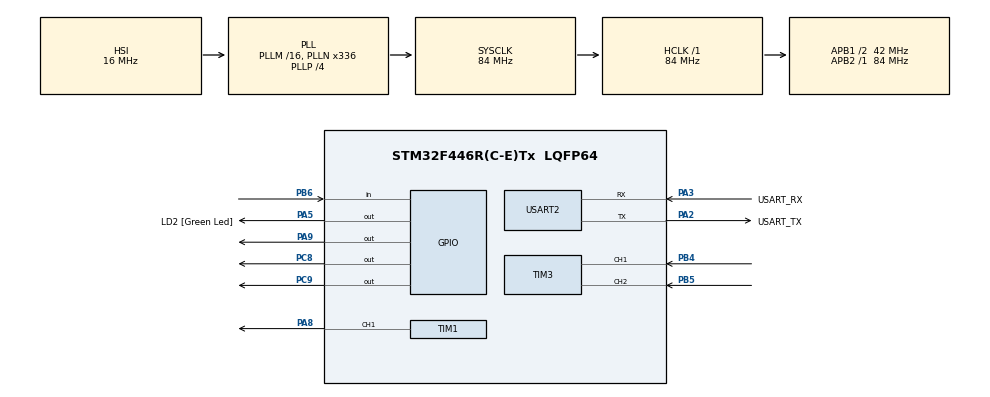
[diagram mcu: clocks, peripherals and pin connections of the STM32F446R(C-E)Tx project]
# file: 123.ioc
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Mcu.Family=STM32F4
Mcu.Name=STM32F446R(C-E)Tx
Mcu.Package=LQFP64
NVIC.PriorityGroup=NVIC_PRIORITYGROUP_0
NVIC.TIM2_IRQn=true\:0\:0\:false\:false\:true\:true\:true\:true
PA14.GPIO_Label=TCK
PA14.Signal=SYS_JTCK-SWCLK
PA2.GPIO_Label=USART_TX
PA2.Mode=Asynchronous
PA2.Signal=USART2_TX
PA3.GPIO_Label=USART_RX
PA3.Mode=Asynchronous
PA3.Signal=USART2_RX
PA5.GPIO_Label=LD2 [Green Led]
PA5.GPIO_PuPd=GPIO_NOPULL
PA5.Signal=GPIO_Output
PA8.Signal=S_TIM1_CH1
PA9.Signal=GPIO_Output
PB4.Signal=S_TIM3_CH1
PB5.Signal=S_TIM3_CH2
PB6.Signal=GPIO_Input
PC14-OSC32_IN.Mode=LSE-External-Oscillator
PC14-OSC32_IN.Signal=RCC_OSC32_IN
PC15-OSC32_OUT.Mode=LSE-External-Oscillator
PC15-OSC32_OUT.Signal=RCC_OSC32_OUT
PC8.Signal=GPIO_Output
PC9.Signal=GPIO_Output
PH0-OSC_IN.Mode=HSE-External-Oscillator
PH0-OSC_IN.Signal=RCC_OSC_IN
PH1-OSC_OUT.Mode=HSE-External-Oscillator
PH1-OSC_OUT.Signal=RCC_OSC_OUT
ProjectManager.HeapSize=0x200
ProjectManager.StackSize=0x400
ProjectManager.TargetToolchain=STM32CubeIDE
RCC.48MHZClocksFreq_Value=84000000
RCC.AHBFreq_Value=84000000
RCC.APB1CLKDivider=RCC_HCLK_DIV2
RCC.APB1Freq_Value=42000000
RCC.APB1TimFreq_Value=84000000
RCC.APB2Freq_Value=84000000
RCC.APB2TimFreq_Value=84000000
RCC.CortexFreq_Value=84000000
RCC.FLatency-AdvancedSettings=FLASH_LATENCY_2
RCC.HCLKFreq_Value=84000000
RCC.HSE_VALUE=8000000
RCC.HSI_VALUE=16000000
RCC.PLLN=336
RCC.PLLP=RCC_PLLP_DIV4
RCC.SYSCLKFreq_VALUE=84000000
RCC.SYSCLKSource=RCC_SYSCLKSOURCE_PLLCLK
RCC.USBFreq_Value=168000000
RCC.VCOOutputFreq_Value=336000000
SH.S_TIM1_CH1.0=TIM1_CH1,PWM Generation1 CH1
SH.S_TIM3_CH1.0=TIM3_CH1,Encoder_Interface
SH.S_TIM3_CH2.0=TIM3_CH2,Encoder_Interface
TIM1.AutomaticOutput=TIM_AUTOMATICOUTPUT_ENABLE
TIM1.Channel-PWM\ Generation1\ CH1=TIM_CHANNEL_1
TIM1.Period=4199
TIM2.Period=999
TIM2.Prescaler=8399
USART2.VirtualMode=VM_ASYNC
VP_TIM2_VS_ClockSourceINT.Mode=Internal
board=NUCLEO-F446RE

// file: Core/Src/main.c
/* USER CODE BEGIN Header */
/**
  ******************************************************************************
  * @file           : main.c
  * @brief          : Main program body
  ******************************************************************************
  * @attention
  *
  * Copyright (c) 2025 STMicroelectronics.
  * All rights reserved.
  *
  * This software is licensed under terms that can be found in the LICENSE file
  * in the root directory of this software component.
  * If no LICENSE file comes with this software, it is provided AS-IS.
  *
  ******************************************************************************
  */
/* USER CODE END Header */
#include "main.h"

/* USER CODE BEGIN Includes */
#include <stdio.h>
#include <string.h>
/* USER CODE END Includes */

TIM_HandleTypeDef htim1;
TIM_HandleTypeDef htim2;
TIM_HandleTypeDef htim3;

UART_HandleTypeDef huart2;

/* USER CODE BEGIN PV */

int i = 0;
/* USER CODE END PV */

void SystemClock_Config(void);
static void MX_GPIO_Init(void);
static void MX_USART2_UART_Init(void);
static void MX_TIM1_Init(void);
static void MX_TIM2_Init(void);
static void MX_TIM3_Init(void);

/* USER CODE BEGIN 0 */
#define PWM_ARR (4199.0f)              // �?????? MX_TIM1_Init �??????�??????
#define TS_SEC  (0.1f)              // ??�樣??��?? 10 ms

// ??�百??��?��?��?�實??? PWM
float pct;
#define DUTY_FROM_PCT(pct)  (((PWM_ARR+1U) * (pct)) / 100U)//

// L298N ?��??�腳：IN3=PC7, IN4=PA9
static inline void Len_high(void){ HAL_GPIO_WritePin(GPIOC, GPIO_PIN_8, GPIO_PIN_SET); }
static inline void Len_low (void){ HAL_GPIO_WritePin(GPIOC, GPIO_PIN_8, GPIO_PIN_RESET); }
static inline void Ren_high(void){ HAL_GPIO_WritePin(GPIOC, GPIO_PIN_9, GPIO_PIN_SET); }
static inline void Ren_low (void){ HAL_GPIO_WritePin(GPIOC, GPIO_PIN_9, GPIO_PIN_RESET); }
static inline void pwm_r_high(void){ HAL_GPIO_WritePin(GPIOA, GPIO_PIN_8, GPIO_PIN_SET); }
static inline void pwm_r_low(void){ HAL_GPIO_WritePin(GPIOA, GPIO_PIN_8, GPIO_PIN_RESET); }
static inline void pwm_l_high(void){ HAL_GPIO_WritePin(GPIOA, GPIO_PIN_9, GPIO_PIN_SET); }
static inline void pwm_l_low (void){ HAL_GPIO_WritePin(GPIOA, GPIO_PIN_9, GPIO_PIN_RESET); }

static inline void driver_enable(void){Ren_high();Len_high();}
static inline void motor_forward(void){ pwm_r_high(); pwm_l_low(); }
static inline void motor_backward(void){ pwm_l_high(); pwm_r_low(); }
static inline void motor_stop(void){pwm_r_low();pwm_l_low();}

static inline void pwm_set(uint32_t duty){
  if (duty > PWM_ARR) duty = PWM_ARR;
  __HAL_TIM_SET_COMPARE(&htim1, TIM_CHANNEL_1, duty);
}

uint16_t enc_last = 0;
float motor_rpm = 0.0f;
float target_rpm=80.0f;

static void limit_float(float *x, float min_val, float max_val)
{
    if (*x > max_val) *x = max_val;
    if (*x < min_val) *x = min_val;
}

float encoder_read_rpm(void)
{
    uint16_t enc_now;
    int16_t diff;

    enc_now = (uint16_t)__HAL_TIM_GET_COUNTER(&htim3);
    diff = (int16_t)(enc_now - enc_last);
    enc_last = enc_now;

    motor_rpm = ((float)diff * 60.0f) / (0.1f * 720.0f);

    return motor_rpm;
}

void pid_calc(PID_t* pid)
   	  {
   	      pid->err = pid->target - pid->current;

   	      pid->p_out = pid->Kp * pid->err;
   	      pid->i_out += pid->Ki * pid->err* TS_SEC;

   	      //積�?��?��??
   	      limit(&(pid->i_out), pid->IntegralLimit);

   	      pid->d_out = pid->Kd * ((pid->err - pid->prev_err)/TS_SEC);

   	      pid->total_out = pid->p_out + pid->i_out + pid->d_out;
   	      //pid输出??��??
   	      limit(&(pid->total_out), pid->MaxOutput);

   	      pid->prev_err = pid->err;
   	  }

typedef struct {

float target;
float current;
float err;
float prev_err;

float Kp;
float Ki;
float Kd;

int32_t p_out;
int32_t i_out;
int32_t d_out;

int32_t total_out;

int32_t IntegralLimit;
int32_t MaxOutput;

} PID_t;

PID_t motor_pid;
/* USER CODE END 0 */

int main(void)
{

  /* MCU Configuration--------------------------------------------------------*/

  /* Reset of all peripherals, Initializes the Flash interface and the Systick. */
  HAL_Init();

  /* USER CODE BEGIN Init */
	target_rpm = 100.0f;

	 motor_pid.Kp = 35.0f;          // ??��?��?��?��?��?�試
	 motor_pid.Ki = 5.0f;
	 motor_pid.Kd = 0.0f;

	 motor_pid.target = target_rpm;
	 motor_pid.current = 0.0f;
	 motor_pid.err = 0.0f;
	 motor_pid.prev_err = 0.0f;

	 motor_pid.p_out = 0.0f;
	 motor_pid.i_out = 0.0f;
	 motor_pid.d_out = 0.0f;
	 motor_pid.total_out = 0.0f;

	  motor_pid.IntegralLimit = 1500.0f;
	  motor_pid.MaxOutput = PWM_ARR;
  /* USER CODE END 1 */

  /* MCU Configuration--------------------------------------------------------*/

  /* Reset of all peripherals, Initializes the Flash interface and the Systick. */

  /* USER CODE BEGIN Init */

  /* USER CODE END Init */

  /* Configure the system clock */
  SystemClock_Config();

  /* Initialize all configured peripherals */
  MX_GPIO_Init();
  MX_USART2_UART_Init();
  MX_TIM1_Init();
  MX_TIM2_Init();
  MX_TIM3_Init();
  /* USER CODE BEGIN 2 */
  // ??��?? PWM
  HAL_TIM_PWM_Start(&htim1, TIM_CHANNEL_1);
  HAL_TIM_Base_Start_IT(&htim2);
  HAL_TIM_Encoder_Start(&htim3, TIM_CHANNEL_ALL);
  // ??�給�???????��，避??�卡住�??200ms 90%�??????
  __HAL_TIM_SET_COUNTER(&htim3, 0);
  enc_last = 0;
  driver_enable();
  motor_forward();
  pwm_set(0);
  HAL_Delay(200);

  /* USER CODE END 2 */

  /* Infinite loop */
  /* USER CODE BEGIN WHILE */

 while (1){

	float rpm = encoder_read_rpm();
	HAL_Delay(100);

  }
    /* USER CODE END WHILE */

}

void SystemClock_Config(void)
{
  RCC_OscInitTypeDef RCC_OscInitStruct = {0};
  RCC_ClkInitTypeDef RCC_ClkInitStruct = {0};

  /** Configure the main internal regulator output voltage
  */
  __HAL_RCC_PWR_CLK_ENABLE();
  __HAL_PWR_VOLTAGESCALING_CONFIG(PWR_REGULATOR_VOLTAGE_SCALE3);

  /** Initializes the RCC Oscillators according to the specified parameters
  * in the RCC_OscInitTypeDef structure.
  */
  RCC_OscInitStruct.OscillatorType = RCC_OSCILLATORTYPE_HSI;
  RCC_OscInitStruct.HSIState = RCC_HSI_ON;
  RCC_OscInitStruct.HSICalibrationValue = RCC_HSICALIBRATION_DEFAULT;
  RCC_OscInitStruct.PLL.PLLState = RCC_PLL_ON;
  RCC_OscInitStruct.PLL.PLLSource = RCC_PLLSOURCE_HSI;
  RCC_OscInitStruct.PLL.PLLM = 16;
  RCC_OscInitStruct.PLL.PLLN = 336;
  RCC_OscInitStruct.PLL.PLLP = RCC_PLLP_DIV4;
  RCC_OscInitStruct.PLL.PLLQ = 2;
  RCC_OscInitStruct.PLL.PLLR = 2;
  if (HAL_RCC_OscConfig(&RCC_OscInitStruct) != HAL_OK)
  {
    Error_Handler();
  }

  /** Initializes the CPU, AHB and APB buses clocks
  */
  RCC_ClkInitStruct.ClockType = RCC_CLOCKTYPE_HCLK|RCC_CLOCKTYPE_SYSCLK
                              |RCC_CLOCKTYPE_PCLK1|RCC_CLOCKTYPE_PCLK2;
  RCC_ClkInitStruct.SYSCLKSource = RCC_SYSCLKSOURCE_PLLCLK;
  RCC_ClkInitStruct.AHBCLKDivider = RCC_SYSCLK_DIV1;
  RCC_ClkInitStruct.APB1CLKDivider = RCC_HCLK_DIV2;
  RCC_ClkInitStruct.APB2CLKDivider = RCC_HCLK_DIV1;

  if (HAL_RCC_ClockConfig(&RCC_ClkInitStruct, FLASH_LATENCY_2) != HAL_OK)
  {
    Error_Handler();
  }
}

static void MX_TIM1_Init(void)
{

  TIM_MasterConfigTypeDef sMasterConfig = {0};
  TIM_OC_InitTypeDef sConfigOC = {0};
  TIM_BreakDeadTimeConfigTypeDef sBreakDeadTimeConfig = {0};

  htim1.Instance = TIM1;
  htim1.Init.Prescaler = 0;
  htim1.Init.CounterMode = TIM_COUNTERMODE_UP;
  htim1.Init.Period = 4199;
  htim1.Init.ClockDivision = TIM_CLOCKDIVISION_DIV1;
  htim1.Init.RepetitionCounter = 0;
  htim1.Init.AutoReloadPreload = TIM_AUTORELOAD_PRELOAD_DISABLE;
  if (HAL_TIM_PWM_Init(&htim1) != HAL_OK)
  {
    Error_Handler();
  }
  sMasterConfig.MasterOutputTrigger = TIM_TRGO_RESET;
  sMasterConfig.MasterSlaveMode = TIM_MASTERSLAVEMODE_DISABLE;
  if (HAL_TIMEx_MasterConfigSynchronization(&htim1, &sMasterConfig) != HAL_OK)
  {
    Error_Handler();
  }
  sConfigOC.OCMode = TIM_OCMODE_PWM1;
  sConfigOC.Pulse = 0;
  sConfigOC.OCPolarity = TIM_OCPOLARITY_HIGH;
  sConfigOC.OCNPolarity = TIM_OCNPOLARITY_HIGH;
  sConfigOC.OCFastMode = TIM_OCFAST_DISABLE;
  sConfigOC.OCIdleState = TIM_OCIDLESTATE_RESET;
  sConfigOC.OCNIdleState = TIM_OCNIDLESTATE_RESET;
  if (HAL_TIM_PWM_ConfigChannel(&htim1, &sConfigOC, TIM_CHANNEL_1) != HAL_OK)
  {
    Error_Handler();
  }
  sBreakDeadTimeConfig.OffStateRunMode = TIM_OSSR_DISABLE;
  sBreakDeadTimeConfig.OffStateIDLEMode = TIM_OSSI_DISABLE;
  sBreakDeadTimeConfig.LockLevel = TIM_LOCKLEVEL_OFF;
  sBreakDeadTimeConfig.DeadTime = 0;
  sBreakDeadTimeConfig.BreakState = TIM_BREAK_DISABLE;
  sBreakDeadTimeConfig.BreakPolarity = TIM_BREAKPOLARITY_HIGH;
  sBreakDeadTimeConfig.AutomaticOutput = TIM_AUTOMATICOUTPUT_ENABLE;
  if (HAL_TIMEx_ConfigBreakDeadTime(&htim1, &sBreakDeadTimeConfig) != HAL_OK)
  {
    Error_Handler();
  }
  HAL_TIM_MspPostInit(&htim1);

}

static void MX_TIM2_Init(void)
{

  TIM_ClockConfigTypeDef sClockSourceConfig = {0};
  TIM_MasterConfigTypeDef sMasterConfig = {0};

  htim2.Instance = TIM2;
  htim2.Init.Prescaler = 8399;
  htim2.Init.CounterMode = TIM_COUNTERMODE_UP;
  htim2.Init.Period = 999;
  htim2.Init.ClockDivision = TIM_CLOCKDIVISION_DIV1;
  htim2.Init.AutoReloadPreload = TIM_AUTORELOAD_PRELOAD_DISABLE;
  if (HAL_TIM_Base_Init(&htim2) != HAL_OK)
  {
    Error_Handler();
  }
  sClockSourceConfig.ClockSource = TIM_CLOCKSOURCE_INTERNAL;
  if (HAL_TIM_ConfigClockSource(&htim2, &sClockSourceConfig) != HAL_OK)
  {
    Error_Handler();
  }
  sMasterConfig.MasterOutputTrigger = TIM_TRGO_RESET;
  sMasterConfig.MasterSlaveMode = TIM_MASTERSLAVEMODE_DISABLE;
  if (HAL_TIMEx_MasterConfigSynchronization(&htim2, &sMasterConfig) != HAL_OK)
  {
    Error_Handler();
  }

}

static void MX_TIM3_Init(void)
{

  TIM_Encoder_InitTypeDef sConfig = {0};
  TIM_MasterConfigTypeDef sMasterConfig = {0};

  htim3.Instance = TIM3;
  htim3.Init.Prescaler = 0;
  htim3.Init.CounterMode = TIM_COUNTERMODE_UP;
  htim3.Init.Period = 65535;
  htim3.Init.ClockDivision = TIM_CLOCKDIVISION_DIV1;
  htim3.Init.AutoReloadPreload = TIM_AUTORELOAD_PRELOAD_DISABLE;
  sConfig.EncoderMode = TIM_ENCODERMODE_TI1;
  sConfig.IC1Polarity = TIM_ICPOLARITY_RISING;
  sConfig.IC1Selection = TIM_ICSELECTION_DIRECTTI;
  sConfig.IC1Prescaler = TIM_ICPSC_DIV1;
  sConfig.IC1Filter = 0;
  sConfig.IC2Polarity = TIM_ICPOLARITY_RISING;
  sConfig.IC2Selection = TIM_ICSELECTION_DIRECTTI;
  sConfig.IC2Prescaler = TIM_ICPSC_DIV1;
  sConfig.IC2Filter = 0;
  if (HAL_TIM_Encoder_Init(&htim3, &sConfig) != HAL_OK)
  {
    Error_Handler();
  }
  sMasterConfig.MasterOutputTrigger = TIM_TRGO_RESET;
  sMasterConfig.MasterSlaveMode = TIM_MASTERSLAVEMODE_DISABLE;
  if (HAL_TIMEx_MasterConfigSynchronization(&htim3, &sMasterConfig) != HAL_OK)
  {
    Error_Handler();
  }

}

static void MX_USART2_UART_Init(void)
{

  huart2.Instance = USART2;
  huart2.Init.BaudRate = 115200;
  huart2.Init.WordLength = UART_WORDLENGTH_8B;
  huart2.Init.StopBits = UART_STOPBITS_1;
  huart2.Init.Parity = UART_PARITY_NONE;
  huart2.Init.Mode = UART_MODE_TX_RX;
  huart2.Init.HwFlowCtl = UART_HWCONTROL_NONE;
  huart2.Init.OverSampling = UART_OVERSAMPLING_16;
  if (HAL_UART_Init(&huart2) != HAL_OK)
  {
    Error_Handler();
  }

}

static void MX_GPIO_Init(void)
{
  GPIO_InitTypeDef GPIO_InitStruct = {0};

  /* GPIO Ports Clock Enable */
  __HAL_RCC_GPIOC_CLK_ENABLE();
  __HAL_RCC_GPIOH_CLK_ENABLE();
  __HAL_RCC_GPIOA_CLK_ENABLE();
  __HAL_RCC_GPIOB_CLK_ENABLE();

  /*Configure GPIO pin Output Level */
  HAL_GPIO_WritePin(GPIOA, LD2_Pin|GPIO_PIN_9, GPIO_PIN_RESET);

  /*Configure GPIO pin Output Level */
  HAL_GPIO_WritePin(GPIOC, GPIO_PIN_8|GPIO_PIN_9, GPIO_PIN_RESET);

  /*Configure GPIO pins : LD2_Pin PA9 */
  GPIO_InitStruct.Pin = LD2_Pin|GPIO_PIN_9;
  GPIO_InitStruct.Mode = GPIO_MODE_OUTPUT_PP;
  GPIO_InitStruct.Pull = GPIO_NOPULL;
  GPIO_InitStruct.Speed = GPIO_SPEED_FREQ_LOW;
  HAL_GPIO_Init(GPIOA, &GPIO_InitStruct);

  /*Configure GPIO pins : PC8 PC9 */
  GPIO_InitStruct.Pin = GPIO_PIN_8|GPIO_PIN_9;
  GPIO_InitStruct.Mode = GPIO_MODE_OUTPUT_PP;
  GPIO_InitStruct.Pull = GPIO_NOPULL;
  GPIO_InitStruct.Speed = GPIO_SPEED_FREQ_LOW;
  HAL_GPIO_Init(GPIOC, &GPIO_InitStruct);

  /*Configure GPIO pin : PB6 */
  GPIO_InitStruct.Pin = GPIO_PIN_6;
  GPIO_InitStruct.Mode = GPIO_MODE_INPUT;
  GPIO_InitStruct.Pull = GPIO_NOPULL;
  HAL_GPIO_Init(GPIOB, &GPIO_InitStruct);

}

/* USER CODE BEGIN 4 */
void HAL_TIM_PeriodElapsedCallback(TIM_HandleTypeDef *htim)
  {
      if (htim->Instance == TIM2)
      {
    	  motor_pid.current = encoder_read_rpm();
    	  motor_pid.target  = target_rpm;

    	  pid_calc(&motor_pid);

    	  motor_forward();   // ?��?��??�控??
    	  pwm_set((uint32_t)(motor_pid.total_out));

      }
  }
/* USER CODE END 4 */

void Error_Handler(void)
{
  __disable_irq();
  while (1)
  {
  }
}
